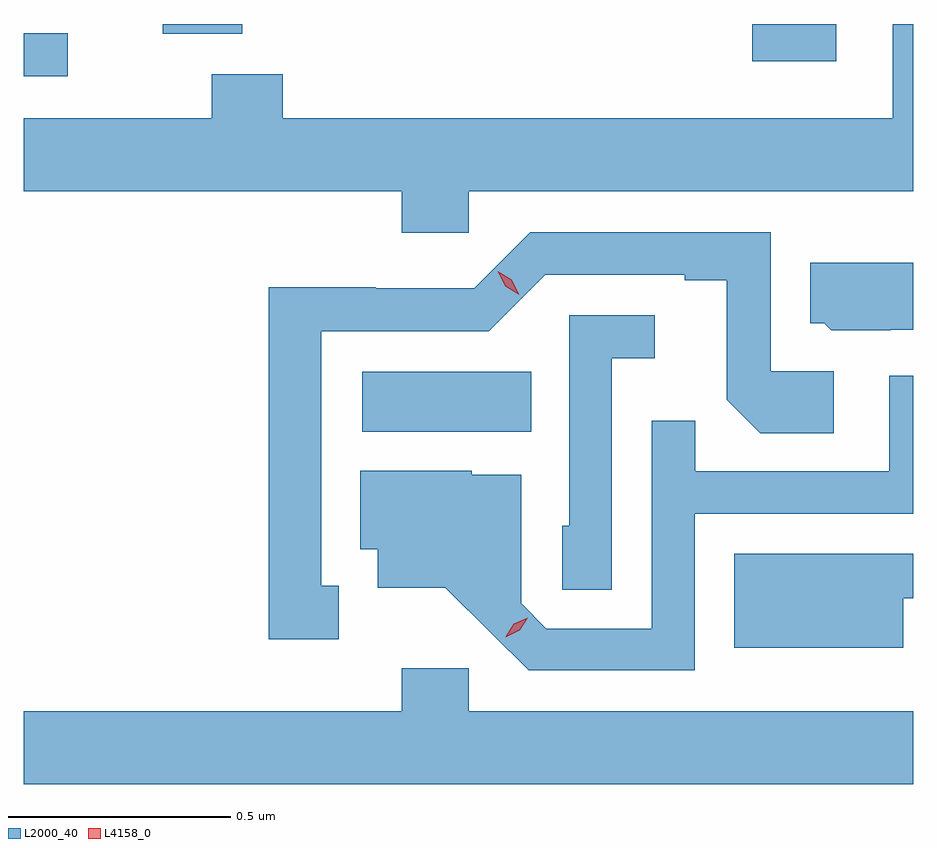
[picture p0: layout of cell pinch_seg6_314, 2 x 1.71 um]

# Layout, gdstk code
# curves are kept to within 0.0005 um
import gdstk
lib = gdstk.Library(unit=1e-6, precision=1e-09)
def R(c, l, rs):  # rectangles x0, y0, x1, y1
    for r in rs: c.add(gdstk.rectangle(r[:2], r[2:], *l))
def P(c, l, *ps):  # polygons
    for p in ps: c.add(gdstk.Polygon(p, *l))
L2000_40 = (2000, 40)
L4158_0 = (4158, 0)

pinch_seg6_314 = lib.new_cell('pinch_seg6_314')
R(pinch_seg6_314, L2000_40, [(662.184,957.452,662.564,957.586), (661.423,958.251,661.522,958.347), (663.061,958.284,663.25,958.368), (661.736,958.346,661.915,958.368)])
P(pinch_seg6_314, L2000_40, [(662.424,957.992),(663.423,957.992),(663.423,958.368),(663.377,958.368),(663.377,958.156),(662.006,958.156),(662.006,958.255),(661.846,958.255),(661.846,958.156),(661.423,958.156),(661.423,957.992),(662.273,957.992),(662.273,957.899),(662.424,957.899)],
  [(662.131,957.105),(662.092,957.105),(662.092,957.678),(662.469,957.678),(662.595,957.804),(662.909,957.804),(662.909,957.792),(663.003,957.792),(663.003,957.524),(663.079,957.448),(663.244,957.448),(663.244,957.588),(663.102,957.588),(663.102,957.9),(662.562,957.9),(662.436,957.774),(662.214,957.774),(662.214,957.776),(661.974,957.776),(661.974,956.985),(662.131,956.985)],
  [(663.372,957.681),(663.423,957.681),(663.423,957.832),(663.191,957.832),(663.191,957.696),(663.222,957.696),(663.238,957.68),(663.372,957.68)],
  [(662.745,957.617),(662.842,957.617),(662.842,957.714),(662.649,957.714),(662.649,957.24),(662.634,957.24),(662.634,957.097),(662.745,957.097)],
  [(662.931,957.267),(663.423,957.267),(663.423,957.577),(663.369,957.577),(663.369,957.363),(662.933,957.363),(662.933,957.476),(662.835,957.476),(662.835,957.009),(662.598,957.009),(662.541,957.066),(662.541,957.355),(662.43,957.355),(662.43,957.364),(662.18,957.364),(662.18,957.188),(662.219,957.188),(662.219,957.101),(662.371,957.101),(662.558,956.916),(662.931,956.916)],
  [(663.4,957.077),(663.423,957.077),(663.423,957.178),(663.02,957.178),(663.02,956.966),(663.4,956.966)],
  [(663.423,956.824),(662.424,956.824),(662.424,956.92),(662.273,956.92),(662.273,956.824),(661.423,956.824),(661.423,956.66),(663.423,956.66)])
P(pinch_seg6_314, L4158_0, [(662.507,956.99),(662.507,956.991),(662.525,957.02),(662.556,957.034),(662.556,957.034),(662.556,957.034),(662.538,957.005),(662.507,956.99)],
  [(662.537,957.76),(662.506,957.779),(662.489,957.812),(662.489,957.812),(662.489,957.812),(662.52,957.793),(662.537,957.76),(662.537,957.76)])

lib.write_gds('pinch_seg6_314.gds')
